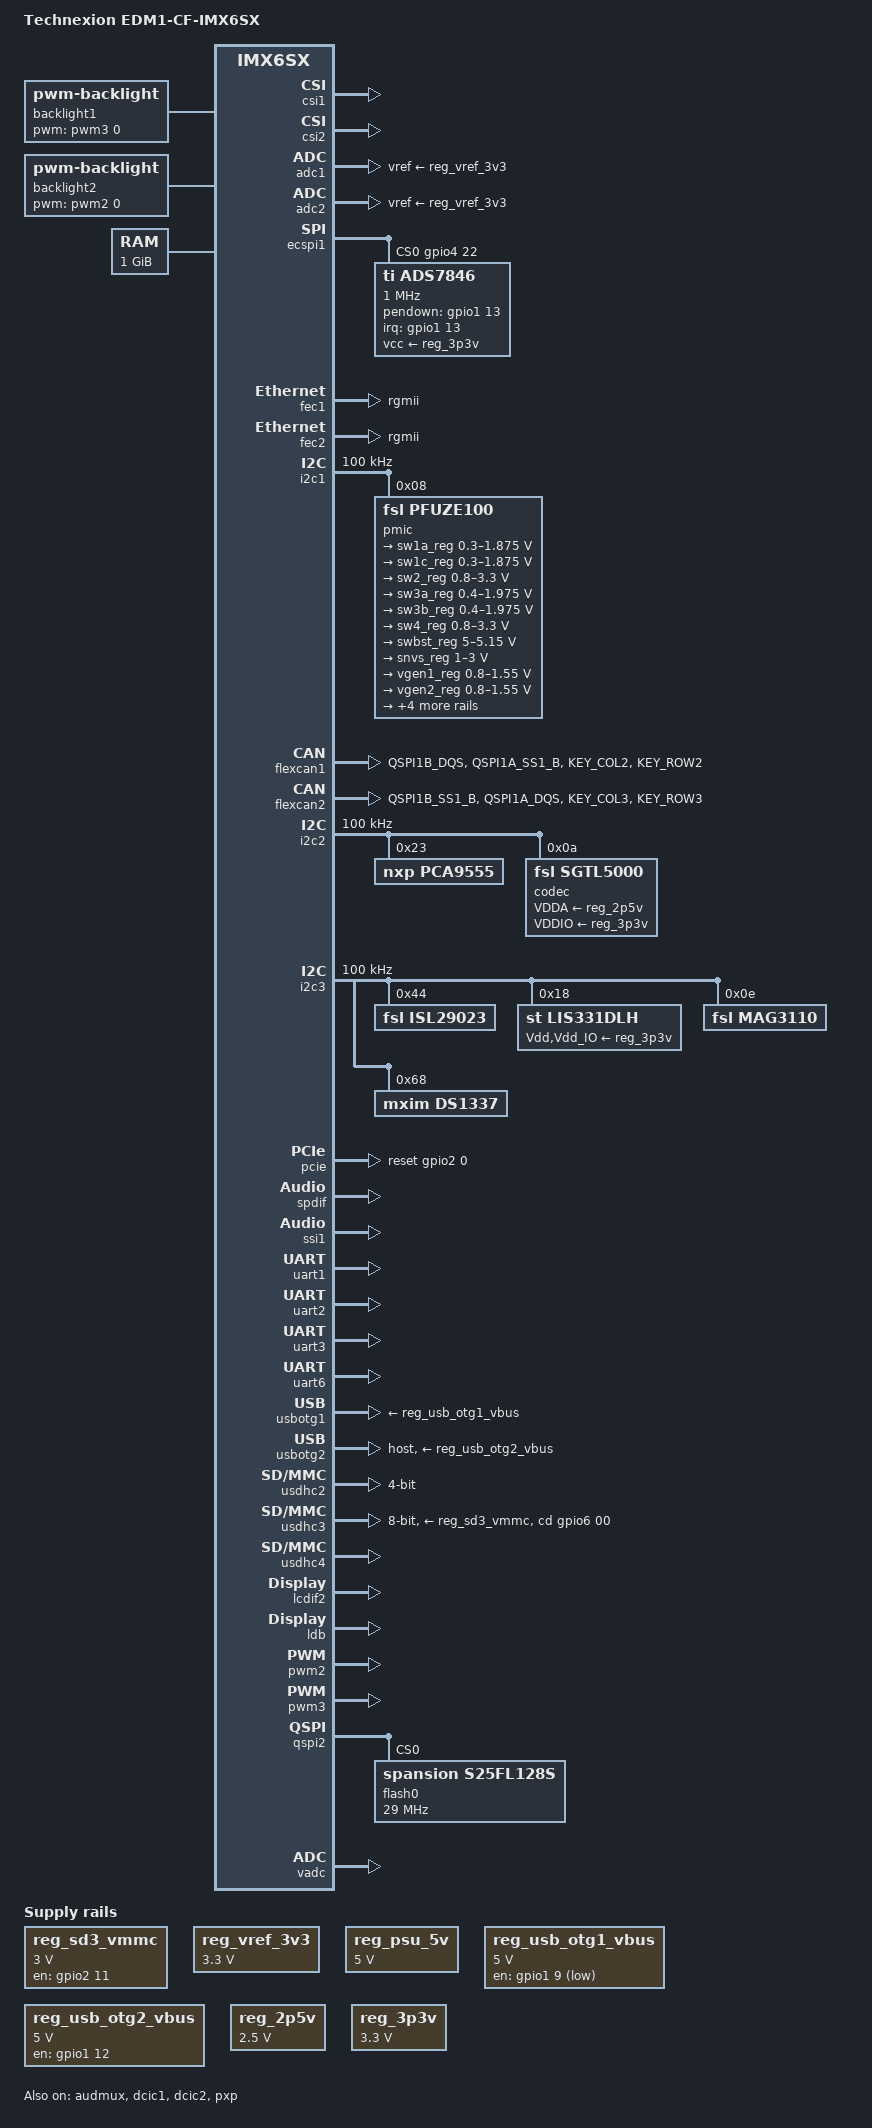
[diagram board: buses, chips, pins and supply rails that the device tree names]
/*
 * Copyright (C) 2014 Freescale Semiconductor, Inc.
 *
 * This program is free software; you can redistribute it and/or modify
 * it under the terms of the GNU General Public License version 2 as
 * published by the Free Software Foundation.
 */

/dts-v1/;

#include <dt-bindings/gpio/gpio.h>
#include "imx6sx.dtsi"

/ {
	model = "Technexion EDM1-CF-IMX6SX";
	compatible = "fsl,edm1-cf-imx6sx", "fsl,imx6sx";

	aliases {
		serial0 = &uart1;
		serial1 = &uart2;
		serial2 = &uart3;
		serial3 = &uart6;
	};

	backlight1 {
		compatible = "pwm-backlight";
		pwms = <&pwm3 0 5000000>;
		brightness-levels = <0 4 8 16 32 64 128 255>;
		default-brightness-level = <6>;
		fb-names = "mxs-lcdif0";
	};

	backlight2 {
		compatible = "pwm-backlight";
		pwms = <&pwm2 0 5000000>;
		brightness-levels = <0 4 8 16 32 64 128 255>;
		default-brightness-level = <6>;
		fb-names = "mxs-lcdif1";
	};

	memory {
		reg = <0x80000000 0x40000000>;
	};

	pxp_v4l2_out {
		compatible = "fsl,imx6sx-pxp-v4l2", "fsl,imx6sl-pxp-v4l2";
		status = "okay";
	};

	regulators {
		compatible = "simple-bus";

		reg_lcd_3v3: lcd-3v3 {
			compatible = "regulator-fixed";
			regulator-name = "lcd-3v3";
			gpio = <&gpio3 27 0>;
			enable-active-high;
			status = "disabled";
		};

		reg_sd3_vmmc: sd3_vmmc{
			compatible = "regulator-fixed";
			regulator-name = "VCC_SD3";
			regulator-min-microvolt = <3000000>;
			regulator-max-microvolt = <3000000>;
			gpio = <&gpio2 11 GPIO_ACTIVE_HIGH>;
			enable-active-high;
		};

		reg_vref_3v3: regulator@0 {
			compatible = "regulator-fixed";
			regulator-name = "vref-3v3";
			regulator-min-microvolt = <3300000>;
			regulator-max-microvolt = <3300000>;
		};

		reg_psu_5v: psu_5v0 {
			compatible = "regulator-fixed";
			regulator-name = "PSU-5V0";
			regulator-min-microvolt = <5000000>;
			regulator-max-microvolt = <5000000>;
			regulator-boot-on;
		};

		reg_usb_otg1_vbus: usb_otg1_vbus {
			compatible = "regulator-fixed";
			regulator-name = "usb_otg1_vbus";
			regulator-min-microvolt = <5000000>;
			regulator-max-microvolt = <5000000>;
			gpio = <&gpio1 9 0>;
		};

		reg_usb_otg2_vbus: usb_otg2_vbus {
			compatible = "regulator-fixed";
			regulator-name = "usb_otg2_vbus";
			regulator-min-microvolt = <5000000>;
			regulator-max-microvolt = <5000000>;
			gpio = <&gpio1 12 0>;
			enable-active-high;
		};

		reg_2p5v: 2p5v {
			compatible = "regulator-fixed";
			regulator-name = "2P5V";
			regulator-min-microvolt = <2500000>;
			regulator-max-microvolt = <2500000>;
			regulator-always-on;
		};

		reg_3p3v: 3p3v {
			compatible = "regulator-fixed";
			regulator-name = "3P3V";
			regulator-min-microvolt = <3300000>;
			regulator-max-microvolt = <3300000>;
			regulator-always-on;
		};
	};

	sound {
		compatible = "fsl,edm1-cf-imx6sx-sgtl5000",
			   "fsl,imx-audio-sgtl5000";
		model = "edm1-cf-imx6sx-sgtl5000";
		cpu-dai = <&ssi1>;
		audio-codec = <&codec>;
		audio-routing =
			"LINE_IN", "Line In Jack",
			"MIC_IN", "Mic Jack",
			"Mic Jack", "Mic Bias",
			"Headphone Jack", "HP_OUT";
		mux-int-port = <1>;
		mux-ext-port = <6>;
	};

	sound-spdif {
		compatible = "fsl,imx-audio-spdif",
			   "fsl,imx6sx-sdb-spdif";
		model = "imx-spdif";
		spdif-controller = <&spdif>;
		spdif-out;
	};

	csi1_v4l2_cap {
		compatible = "fsl,imx6sx-csi-v4l2", "fsl,imx6sl-csi-v4l2";
		csi_id = <0>;
		status = "okay";
	};

	csi2_v4l2_cap {
		compatible = "fsl,imx6sx-csi-v4l2", "fsl,imx6sl-csi-v4l2";
		csi_id = <1>;
		status = "okay";
	};

	rfkill {
		compatible = "bcm,bcm43xx_rfkill";
		pinctrl-names = "default";
		pinctrl-0 = <>;
		bluetooth-on = <&pca9555 12 0>;
		bluetooth-reg-on = <&pca9555 3 0>;
		bluetooth-wake = <&pca9555 4 0>;
		bluetooth-host-wake = <&pca9555 13 0>;

		wifi-ref-on = <&pca9555 10 0>;
		wifi-rst-n = <&pca9555 9 0>;
		wifi-reg-on = <&pca9555 11 0>;
		wifi-host-wake = <&pca9555 8 0>;
	};
};

&csi1 {
	status = "okay";
};

&csi2 {
	status = "okay";
};

&adc1 {
	vref-supply = <&reg_vref_3v3>;
	status = "okay";
};

&adc2 {
	vref-supply = <&reg_vref_3v3>;
	status = "okay";
};

&audmux {
	pinctrl-names = "default";
	pinctrl-0 = <&pinctrl_audmux_1>;
	status = "okay";
};

&ecspi1 {
	fsl,spi-num-chipselects = <1>;
	cs-gpios = <&gpio4 22 0>;
	pinctrl-names = "default";
	pinctrl-0 = <&pinctrl_ecspi1_1 &pinctrl_ecspi1_cs_1>;
	status = "okay";

	ads7846@0 {
		reg = <0>;	/* CS0 */
		compatible = "ti,ads7846";
		pinctrl-names = "default";
		pinctrl-0 = <&pinctrl_ads7846_irq>;
		interrupt-parent = <&gpio1>;
		interrupts = <13 0>;
		spi-max-frequency = <1000000>;
		pendown-gpio = <&gpio1 13 0>;
		vcc-supply = <&reg_3p3v>;

		ti,x-min = /bits/ 16 <0>;
		ti,x-max = /bits/ 16 <4095>;
		ti,y-min = /bits/ 16 <0>;
		ti,y-max = /bits/ 16 <4095>;
		ti,pressure-max = /bits/ 16 <1024>;
		ti,x-plate-ohms = /bits/ 16 <90>;
		ti,y-plate-ohms = /bits/ 16 <90>;
		ti,debounce-max = /bits/ 16 <70>;
		ti,debounce-tol = /bits/ 16 <3>;
		ti,debounce-rep = /bits/ 16 <2>;
		ti,settle-delay-usec = /bits/ 16 <150>;

		linux,wakeup;
	};
};

&fec1 {
	pinctrl-names = "default";
	pinctrl-0 = <&pinctrl_enet1_1 &pinctrl_enet1_clkout_1>;
	pinctrl-assert-gpios = <&gpio4 16 GPIO_ACTIVE_HIGH>, <&gpio2 6 GPIO_ACTIVE_LOW>;
	phy-mode = "rgmii";
	fsl,num_tx_queues=<3>;
	fsl,num_rx_queues=<3>;
	status = "okay";
};

&fec2 {
	pinctrl-names = "default";
	pinctrl-0 = <&pinctrl_enet2_1>;
	phy-mode = "rgmii";
	fsl,num_tx_queues=<3>;
	fsl,num_rx_queues=<3>;
	status = "okay";
};

&gpc {
	fsl,cpu_pupscr_sw2iso = <0xf>;
	fsl,cpu_pupscr_sw = <0xf>;
	fsl,cpu_pdnscr_iso2sw = <0x1>;
	fsl,cpu_pdnscr_iso = <0x1>;
	fsl,wdog-reset = <1>; /* watchdog select of reset source */
};

&i2c1 {
        clock-frequency = <100000>;
        pinctrl-names = "default";
        pinctrl-0 = <&pinctrl_i2c1_1>;
        status = "okay";

	pmic: pfuze100@08 {
		compatible = "fsl,pfuze100";
		reg = <0x08>;

		regulators {
			sw1a_reg: sw1ab {
				regulator-min-microvolt = <300000>;
				regulator-max-microvolt = <1875000>;
				regulator-boot-on;
				regulator-always-on;
				regulator-ramp-delay = <6250>;
			};

			sw1c_reg: sw1c {
				regulator-min-microvolt = <300000>;
				regulator-max-microvolt = <1875000>;
				regulator-boot-on;
				regulator-always-on;
				regulator-ramp-delay = <6250>;
			};

			sw2_reg: sw2 {
				regulator-min-microvolt = <800000>;
				regulator-max-microvolt = <3300000>;
				regulator-boot-on;
				regulator-always-on;
			};

			sw3a_reg: sw3a {
				regulator-min-microvolt = <400000>;
				regulator-max-microvolt = <1975000>;
				regulator-boot-on;
				regulator-always-on;
			};

			sw3b_reg: sw3b {
				regulator-min-microvolt = <400000>;
				regulator-max-microvolt = <1975000>;
				regulator-boot-on;
				regulator-always-on;
			};

			sw4_reg: sw4 {
				regulator-min-microvolt = <800000>;
				regulator-max-microvolt = <3300000>;
			};

			swbst_reg: swbst {
				regulator-min-microvolt = <5000000>;
				regulator-max-microvolt = <5150000>;
			};

			snvs_reg: vsnvs {
				regulator-min-microvolt = <1000000>;
				regulator-max-microvolt = <3000000>;
				regulator-boot-on;
				regulator-always-on;
			};

			vref_reg: vrefddr {
				regulator-boot-on;
				regulator-always-on;
			};

			vgen1_reg: vgen1 {
				regulator-min-microvolt = <800000>;
				regulator-max-microvolt = <1550000>;
				regulator-always-on;
			};

			vgen2_reg: vgen2 {
				regulator-min-microvolt = <800000>;
				regulator-max-microvolt = <1550000>;
			};

			vgen3_reg: vgen3 {
				regulator-min-microvolt = <1800000>;
				regulator-max-microvolt = <3300000>;
				regulator-always-on;
			};

			vgen4_reg: vgen4 {
				regulator-min-microvolt = <1800000>;
				regulator-max-microvolt = <3300000>;
				regulator-always-on;
			};

			vgen5_reg: vgen5 {
				regulator-min-microvolt = <1800000>;
				regulator-max-microvolt = <3300000>;
				regulator-always-on;
			};

			vgen6_reg: vgen6 {
				regulator-min-microvolt = <1800000>;
				regulator-max-microvolt = <3300000>;
				regulator-always-on;
			};
		};
	};
};

&flexcan1 {
	pinctrl-names = "default";
	pinctrl-0 = <&pinctrl_flexcan1_1>;
	status = "okay";
};

&flexcan2 {
	pinctrl-names = "default";
	pinctrl-0 = <&pinctrl_flexcan2_1>;
	status = "okay";
};

&i2c2 {
        clock-frequency = <100000>;
        pinctrl-names = "default";
        pinctrl-0 = <&pinctrl_i2c2_1>;
        status = "okay";

	pca9555: pca9555@23 {
		compatible = "nxp,pca9555";
//		interrupt-parent = <&gpio1>;
//		interrupts = <23 0x2>;
		gpio-controller;
		#gpio-cells = <2>;
//		interrupt-controller;
		#interrupt-cells = <2>;
		reg = <0x23>;
	};

	codec: sgtl5000@0a {
		compatible = "fsl,sgtl5000";
		reg = <0x0a>;
		clocks = <&clks IMX6SX_CLK_AUDIO>;
		VDDA-supply = <&reg_2p5v>;
		VDDIO-supply = <&reg_3p3v>;
	};
};


&i2c3 {
        clock-frequency = <100000>;
        pinctrl-names = "default";
        pinctrl-0 = <&pinctrl_i2c3_2>;
        status = "okay";

	isl29023@44 {
		compatible = "fsl,isl29023";
		reg = <0x44>;
		rext = <499>;
	};

	lis331dlh: lis331dlh@18 {
		compatible = "st,lis331dlh", "st,lis3lv02d";
		reg = <0x18>;
		Vdd-supply = <&reg_3p3v>;
		Vdd_IO-supply = <&reg_3p3v>;

		st,click-single-x;
		st,click-single-y;
		st,click-single-z;
		st,click-thresh-x = <10>;
		st,click-thresh-y = <10>;
		st,click-thresh-z = <10>;
		st,irq1-click;
		st,irq2-click;
		st,wakeup-x-lo;
		st,wakeup-x-hi;
		st,wakeup-y-lo;
		st,wakeup-y-hi;
		st,wakeup-z-lo;
		st,wakeup-z-hi;
		st,min-limit-x = <120>;
		st,min-limit-y = <120>;
		st,min-limit-z = <140>;
		st,max-limit-x = <550>;
		st,max-limit-y = <550>;
		st,max-limit-z = <750>;
	};

	mag3110@0e {
		compatible = "fsl,mag3110";
		reg = <0x0e>;
		position = <2>;
	};

	ds1337: rtc@68 {
		compatible = "mxim,ds1337";
		reg = <0x68>;
	};
};

&i2c4 {
        clock-frequency = <100000>;
        pinctrl-names = "default";
        pinctrl-0 = <&pinctrl_i2c4_1>;
        status = "disabled";
};

&iomuxc {
	pinctrl-names = "default";
	pinctrl-0 = <&pinctrl_hog>;

	hog {
		pinctrl_hog: hoggrp {
			fsl,pins = <
				MX6SX_PAD_ENET2_COL__GPIO2_IO_6 0x80000000	/* Ethernet Power Enable */
				MX6SX_PAD_QSPI1A_DATA3__GPIO4_IO_19 0x80000000	/* Voltage regulators Enable */
			>;
		};
	};

	flexcan1 {
		pinctrl_flexcan1_1: flexcan1grp-1 {
			fsl,pins = <
				MX6SX_PAD_QSPI1B_DQS__CAN1_TX	0x1b0b0
				MX6SX_PAD_QSPI1A_SS1_B__CAN1_RX	0x1b0b0
				MX6SX_PAD_KEY_COL2__CAN1_TX	0x1b0b0
				MX6SX_PAD_KEY_ROW2__CAN1_RX	0x1b0b0
			>;
		};
	};

	flexcan2 {
		pinctrl_flexcan2_1: flexcan2grp-1 {
			fsl,pins = <
				MX6SX_PAD_QSPI1B_SS1_B__CAN2_RX 0x1b0b0
				MX6SX_PAD_QSPI1A_DQS__CAN2_TX	0x1b0b0
				MX6SX_PAD_KEY_COL3__CAN2_TX 0x1b0b0
				MX6SX_PAD_KEY_ROW3__CAN2_RX	0x1b0b0
			>;
		};
	};

	ads7846_irq {
		pinctrl_ads7846_irq: ads7846_irq_ctrlgrp {
			fsl,pins = <
				MX6SX_PAD_GPIO1_IO13__GPIO1_IO_13     0x1f059
			>;
		};
	};
};

&pcie {
	reset-gpio = <&gpio2 0 0>;
	status = "okay";
};

&sai1 {
	pinctrl-names = "default";
	pinctrl-0 = <&pinctrl_sai1_2>;
	status = "disabled";
};


&spdif {
	pinctrl-names = "default";
	pinctrl-0 = <&pinctrl_spdif_4>;
	status = "okay";
};


&ssi1 {
	status = "okay";
};

&uart1 {
	pinctrl-names = "default";
	pinctrl-0 = <&pinctrl_uart1_1>;
	status = "okay";
};

&uart2 {
	pinctrl-names = "default";
	pinctrl-0 = <&pinctrl_uart2_2>;
	fsl,uart-has-rtscts;
	status = "okay";
};

&uart3 {
	pinctrl-names = "default";
	pinctrl-0 = <&pinctrl_uart3_1>;
	fsl,uart-has-rtscts;
	status = "okay";
};

&uart6 {
	pinctrl-names = "default";
	pinctrl-0 = <&pinctrl_uart6_1>;
	fsl,uart-has-rtscts;
	status = "okay";
};

&usbotg1 {
	vbus-supply = <&reg_usb_otg1_vbus>;
	pinctrl-names = "default";
	pinctrl-0 = <&pinctrl_usbotg1_1>;
	imx6-usb-charger-detection;
	status = "okay";
};

&usbotg2 {
	vbus-supply = <&reg_usb_otg2_vbus>;
	dr_mode = "host";
	status = "okay";
};

/* Broadcom Wifi */
&usdhc2 {
	pinctrl-names = "default";
	pinctrl-0 = <&pinctrl_usdhc2_1>;
	bus-width = <4>;
	//non-removable;
	keep-power-in-suspend;
	status = "okay";
};

&usdhc3 {
	pinctrl-names = "default", "state_100mhz", "state_200mhz";
	pinctrl-0 = <&pinctrl_usdhc3_1>;
	pinctrl-1 = <&pinctrl_usdhc3_1_100mhz>;
	pinctrl-2 = <&pinctrl_usdhc3_1_200mhz>;
	bus-width = <8>;
	cd-gpios = <&gpio6 00 0>;
//	wp-gpios = <&gpio6 01 0>;
	keep-power-in-suspend;
	enable-sdio-wakeup;
	vmmc-supply = <&reg_sd3_vmmc>;
	status = "okay";
};

&usdhc4 {
	pinctrl-names = "default";
	pinctrl-0 = <&pinctrl_usdhc4_1>;
	status = "okay";
};

&lcdif1 {
	pinctrl-names = "default";
	pinctrl-0 = <&pinctrl_lcdif_dat_0
		     &pinctrl_lcdif_ctrl_0>;
	lcd-supply = <&reg_lcd_3v3>;
	display = <&display0>;
	status = "disabled";

	display0: display {
		bits-per-pixel = <24>;
		bus-width = <24>;

		display-timings {
			native-mode = <&timing0>;
			timing0: timing0 {
				clock-frequency = <33260000>;
				hactive = <800>;
				vactive = <480>;
				hback-porch = <46>;
				hfront-porch = <210>;
				vback-porch = <23>;
				vfront-porch = <22>;
				hsync-len = <1>;
				vsync-len = <1>;
				hsync-active = <0>;
				vsync-active = <0>;
				de-active = <1>;
				pixelclk-active = <0>;
				interlaced =  <0>;
			};
		};
	};
};

&lcdif2 {
	display = <&display1>;
	disp-dev = "ldb";
	status = "okay";

	display1: display {
		bits-per-pixel = <24>;
		bus-width = <24>;
	};
};

&ldb {
	status = "okay";

	lvds-channel@0 {
		fsl,data-mapping = "spwg";
		fsl,data-width = <24>;
		crtc = "lcdif2";
		status = "okay";

		display-timings {
			native-mode = <&timing1>;
			timing1: hj070na {
				clock-frequency = <51000000>;
				hactive = <1024>;
				vactive = <600>;
				hback-porch = <90>;
				hfront-porch = <120>;
				vback-porch = <1>;
				vfront-porch = <1>;
				hsync-len = <100>;
				vsync-len = <33>;
			};
		};
	};
};

&dcic1 {
	dcic_id = <0>;
	dcic_mux = "dcic-lcdif1";
	status = "okay";
};

&dcic2 {
	dcic_id = <1>;
	dcic_mux = "dcic-lvds";
	status = "okay";
};

&pwm2 {
	pinctrl-names = "default";
	pinctrl-0 = <&pinctrl_pwm2_0>;
	status = "okay";
};

&pwm3 {
	pinctrl-names = "default";
	pinctrl-0 = <&pinctrl_pwm3_0>;
	status = "okay";
};

&pxp {
	status = "okay";
};

&qspi2 {
	pinctrl-names = "default";
	pinctrl-0 = <&pinctrl_qspi2_2>;
	status = "okay";

	flash0: s25fl128s@0 {
		#address-cells = <1>;
		#size-cells = <1>;
		compatible = "spansion,s25fl128s";
		spi-max-frequency = <29000000>;
		reg = <0>;
	};
};

&vadc {
	vadc_in = <0>;
	csi_id = <1>;
	status = "okay";
};
